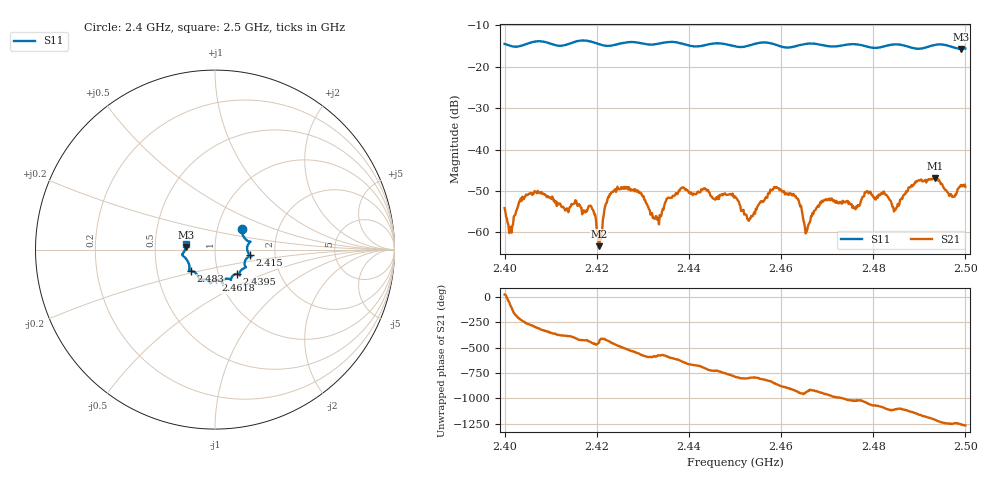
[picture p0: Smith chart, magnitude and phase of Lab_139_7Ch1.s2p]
# Hz S RI R 50
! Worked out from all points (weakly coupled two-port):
!   601 points, 2.4 GHz to 2.5 GHz, reference 50 ohm
!   highest |S21| = -46.82 dB at 2.4935 GHz (marker M1); lowest = -63.3 dB at 2.4205 GHz (marker M2)
!   lowest |S11| = -15.7 dB at 2.499 GHz (marker M3), VSWR 1.39, Z = 35.9 + j1.12 ohm
!   |S11| at or under -10 dB: start of sweep to end of sweep
!   S12 and S22 are empty: the file has one direction only
!   S11 on the Smith chart (normalised r, x): 2.4 GHz: 1.31, +0.31; 2.415 GHz: 1.48, -0.10; 2.4395 GHz: 1.23, -0.34; 2.4618 GHz: 0.95, -0.33; 2.483 GHz: 0.74, -0.18; 2.5 GHz: 0.72, +0.05
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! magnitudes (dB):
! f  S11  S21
! 2.4 GHz  -14.5  -54.1
! 2.4013 GHz  -15.0  -58.7
! 2.4052 GHz  -14.4  -50.9
! 2.415 GHz  -14.1  -53.0
! 2.4167 GHz  -13.7  -54.0
! 2.4188 GHz  -14.0  -53.8
! 2.4205 GHz  -14.5  -63.3
! 2.4223 GHz  -15.0  -52.0
! 2.4248 GHz  -14.5  -49.5
! 2.4333 GHz  -14.4  -56.5
! 2.4395 GHz  -14.7  -49.7
! 2.45 GHz  -15.1  -51.3
! 2.4532 GHz  -14.8  -56.7
! 2.4582 GHz  -14.5  -49.7
! 2.4618 GHz  -15.3  -50.5
! 2.4653 GHz  -14.5  -60.2
! 2.4667 GHz  -14.4  -56.1
! 2.483 GHz  -14.9  -51.2
! 2.4833 GHz  -14.8  -51.7
! 2.4935 GHz  -14.7  -46.8
! 2.499 GHz  -15.7  -48.6
! 2.5 GHz  -15.6  -49.0
